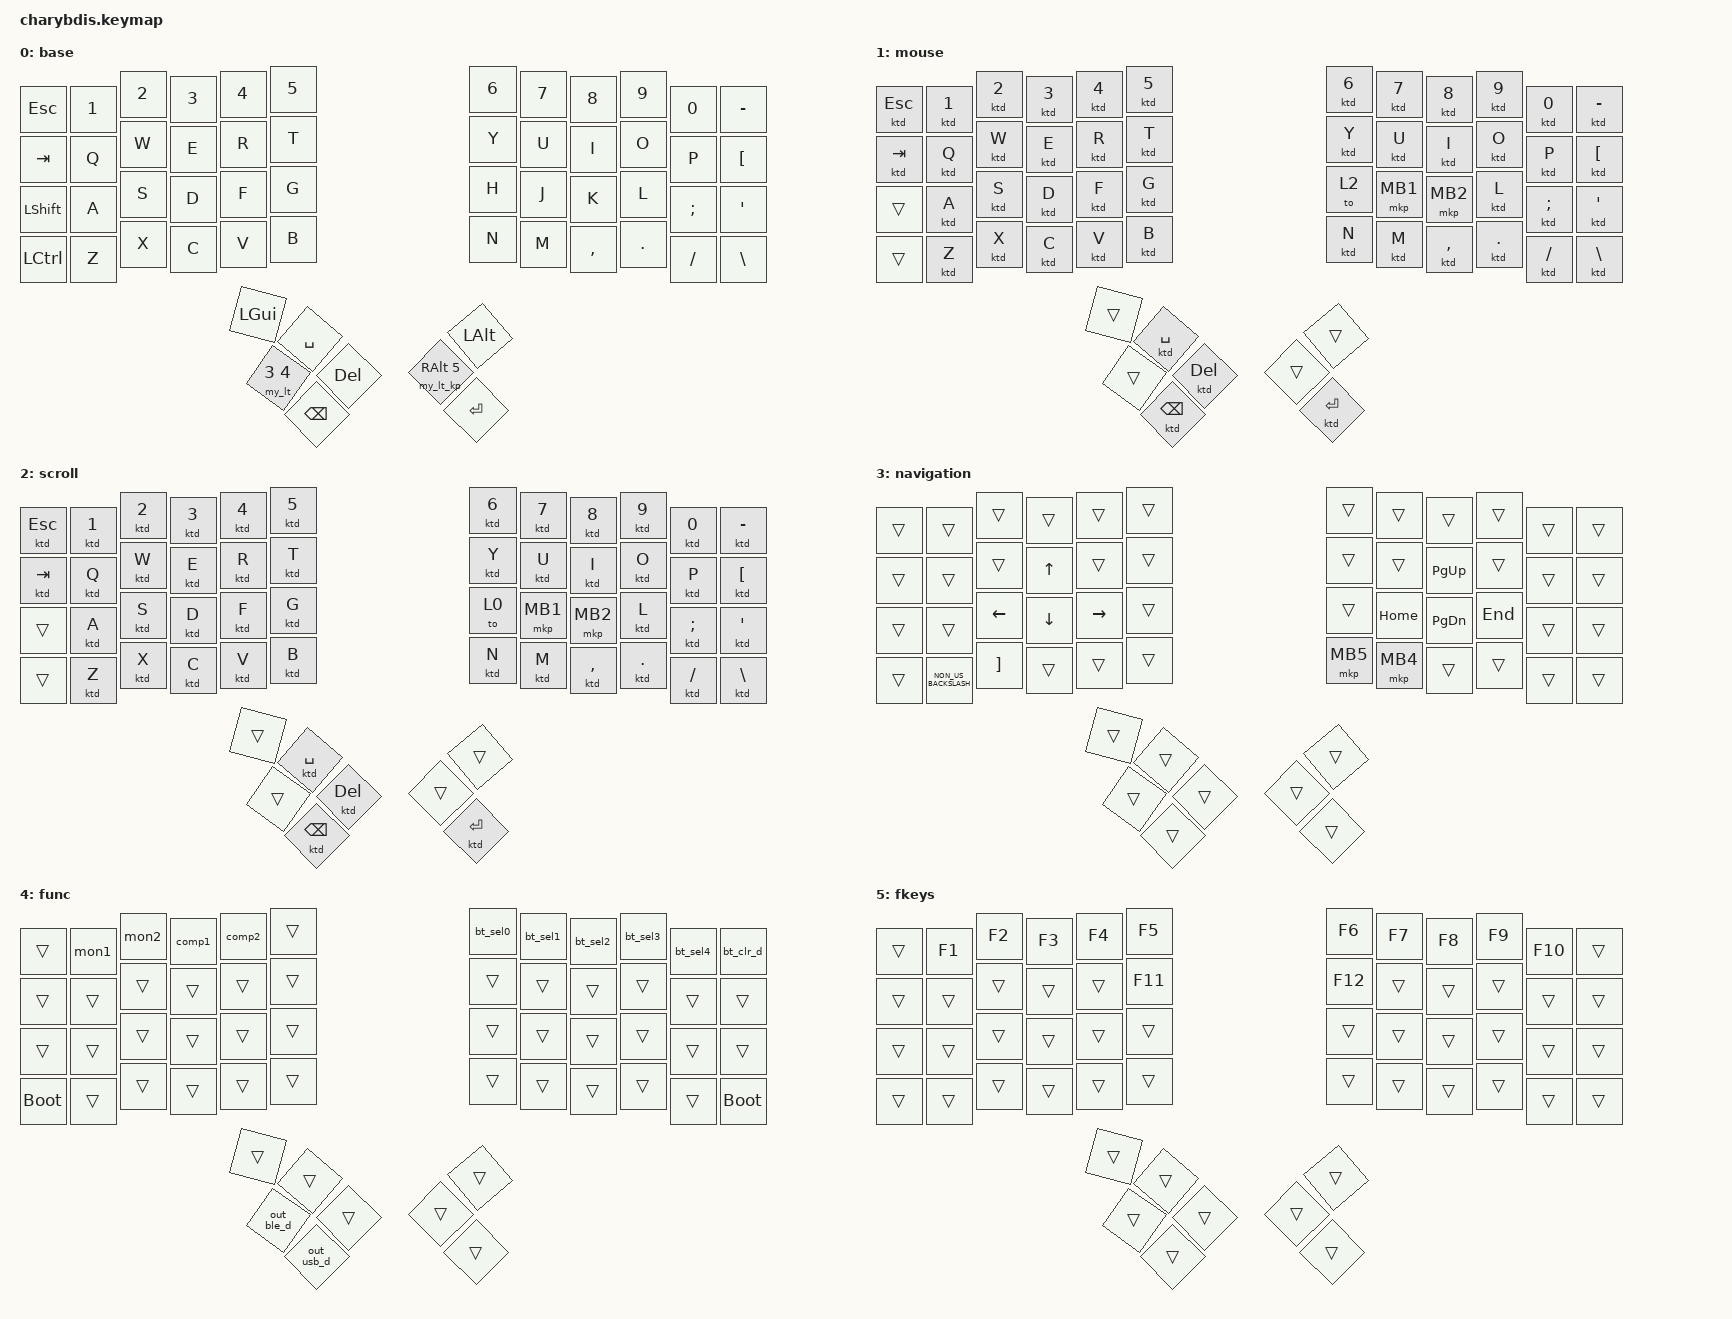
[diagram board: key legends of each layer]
#include <behaviors.dtsi>
#include <dt-bindings/zmk/bt.h>
#include <input/processors.dtsi>
#include <dt-bindings/zmk/keys.h>
#include <dt-bindings/zmk/mouse.h>
#include <dt-bindings/zmk/outputs.h>
#include <dt-bindings/zmk/pointing.h>
#include <dt-bindings/zmk/behaviors.h>
#include <dt-bindings/zmk/input_transform.h>
#include <dt-bindings/zmk/ext_power.h>

// keep all behavior settings for zmk studio
#define ZMK_BEHAVIORS_OMIT_KT

#define DEFAULT 0

#include "common_macros.dtsi"

    &sl {
    release-after-ms = <2000>;
};


/ {
    keymap {
        compatible = "zmk,keymap";

        default_layer {
            display-name = "base";
            bindings = <
              &kp ESC               &kp NUMBER_1  &kp NUMBER_2  &kp NUMBER_3  &kp NUMBER_4      &kp NUMBER_5             &kp NUMBER_6        &kp NUMBER_7       &kp NUMBER_8  &kp NUMBER_9  &kp NUMBER_0   &kp MINUS
              &kp TAB               &kp Q         &kp W         &kp E         &kp R             &kp T                    &kp Y               &kp U              &kp I         &kp O         &kp P          &kp LBKT
              &kp LSHIFT            &kp A         &kp S         &kp D         &kp F             &kp G                    &kp H               &kp J              &kp K         &kp L         &kp SEMICOLON  &kp SINGLE_QUOTE
              &kp LCTRL             &kp Z         &kp X         &kp C         &kp V             &kp B                    &kp N               &kp M              &kp COMMA     &kp PERIOD    &kp SLASH      &kp BACKSLASH
                                    &kp LGUI      &kp SPACE     &kp DEL       &my_lt_kp RALT 5  &kp LALT                 &my_lt 3 4          &kp BACKSPACE      &kp ENTER

            
            >;
        };

        mouse_layer {
            display-name = "mouse";
            bindings = <
             &ktd ESC   &ktd N1     &ktd N2    &ktd N3      &ktd N4  &ktd N5               &ktd N6   &ktd N7           &ktd N8     &ktd N9         &ktd N0          &ktd MINUS
             &ktd TAB   &ktd Q      &ktd W     &ktd E       &ktd R   &ktd T                &ktd Y    &ktd U            &ktd I      &ktd O          &ktd P           &ktd LBKT
             &trans     &ktd A      &ktd S     &ktd D       &ktd F   &ktd G                &to 2     &mkp MB1          &mkp MB2    &ktd L          &ktd SEMICOLON   &ktd SINGLE_QUOTE
             &trans     &ktd Z      &ktd X     &ktd C       &ktd V   &ktd B                &ktd N    &ktd M            &ktd COMMA  &ktd PERIOD     &ktd SLASH       &ktd BACKSLASH
                        &trans      &ktd SPACE &ktd DEL     &trans   &trans                &trans    &ktd BACKSPACE    &ktd ENTER      
            
            >;
        };

        scroll_layer {
            display-name = "scroll";
            bindings = <
             &ktd ESC   &ktd N1     &ktd N2     &ktd N3     &ktd N4  &ktd N5            &ktd N6     &ktd N7           &ktd N8           &ktd N9         &ktd N0          &ktd MINUS
             &ktd TAB   &ktd Q      &ktd W      &ktd E      &ktd R   &ktd T             &ktd Y      &ktd U            &ktd I            &ktd O          &ktd P           &ktd LBKT
             &trans     &ktd A      &ktd S      &ktd D      &ktd F   &ktd G             &to 0       &mkp MB1          &mkp MB2          &ktd L          &ktd SEMICOLON   &ktd SINGLE_QUOTE
             &trans     &ktd Z      &ktd X      &ktd C      &ktd V   &ktd B             &ktd N      &ktd M            &ktd COMMA        &ktd PERIOD     &ktd SLASH       &ktd BACKSLASH
                        &trans      &ktd SPACE  &ktd DEL    &trans   &trans             &trans      &ktd BACKSPACE    &ktd ENTER       
            
            >;
        };
        
        navigation_layer {
            display-name = "navigation";
            bindings = <
              &trans                &trans                  &trans        &trans        &trans        &trans                     &trans             &trans        &trans           &trans        &trans         &trans
              &trans                &trans                  &trans        &kp UP        &trans        &trans                     &trans             &trans        &kp PAGE_UP      &trans        &trans         &trans
              &trans                &trans                  &kp LEFT      &kp DOWN      &kp RIGHT     &trans                     &trans             &kp HOME      &kp PAGE_DOWN    &kp END       &trans         &trans
              &trans                &kp NON_US_BACKSLASH    &kp RBKT      &trans        &trans        &trans                     &mkp MB5           &mkp MB4      &trans           &trans        &trans         &trans
                                    &trans                  &trans        &trans        &trans        &trans                     &trans             &trans        &trans           
            
            >;
        };

        function_layer {
            display-name = "func";
            bindings = <
              &trans                &mon1         &mon2         &comp1        &comp2        &trans                    &bt_sel0           &bt_sel1      &bt_sel2      &bt_sel3      &bt_sel4       &bt_clr_d 
              &trans                &trans        &trans        &trans        &trans        &trans                    &trans             &trans        &trans        &trans        &trans         &trans
              &trans                &trans        &trans        &trans        &trans        &trans                    &trans             &trans        &trans        &trans        &trans         &trans
              &bootloader           &trans        &trans        &trans        &trans        &trans                    &trans             &trans        &trans        &trans        &trans         &bootloader
                                    &trans        &trans        &trans        &trans        &trans                    &out_ble_d         &out_usb_d    &trans
            >;
        };

        fkeys_layer {
            display-name = "fkeys";
            bindings = <
              &trans                &kp F1        &kp F2        &kp F3        &kp F4        &kp F5                     &kp F6             &kp F7        &kp F8           &kp F9        &kp F10        &trans
              &trans                &trans        &trans        &trans        &trans        &kp F11                    &kp F12            &trans        &trans           &trans        &trans         &trans
              &trans                &trans        &trans        &trans        &trans        &trans                     &trans             &trans        &trans           &trans        &trans         &trans
              &trans                &trans        &trans        &trans        &trans        &trans                     &trans             &trans        &trans           &trans        &trans         &trans
                                    &trans        &trans        &trans        &trans        &trans                     &trans             &trans        &trans           
            
            >;
        };

        extra1 {
                status = "reserved";
            };

        extra2 {
                status = "reserved";
            };
    };
};
